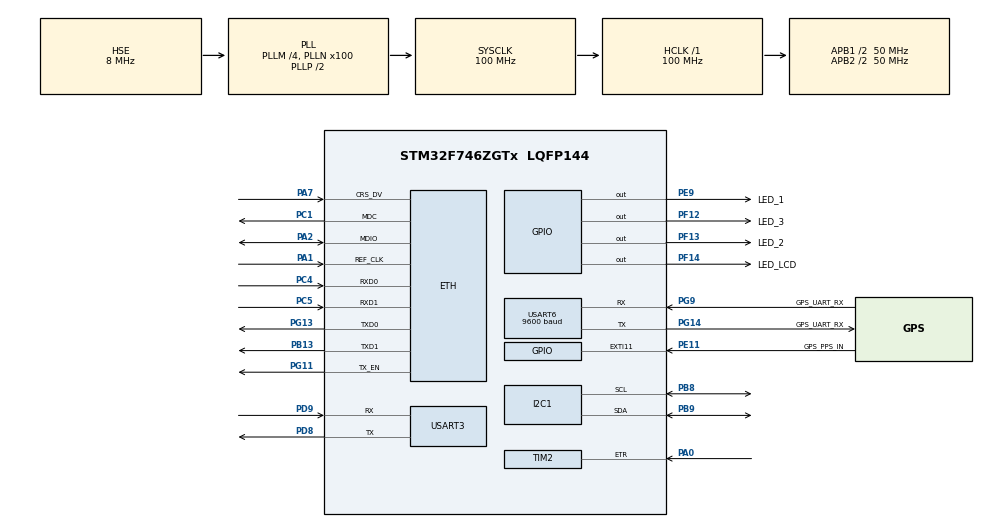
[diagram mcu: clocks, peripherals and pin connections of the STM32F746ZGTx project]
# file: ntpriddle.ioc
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CORTEX_M7.ART_ACCLERATOR_ENABLE=1
CORTEX_M7.CPU_DCache=Enabled
CORTEX_M7.CPU_ICache=Enabled
CORTEX_M7.PREFETCH_ENABLE=1
Dma.Request0=USART3_RX
Dma.Request1=USART3_TX
Dma.Request2=USART6_RX
Dma.Request3=USART6_TX
Dma.USART3_RX.0.Direction=DMA_PERIPH_TO_MEMORY
Dma.USART3_RX.0.FIFOMode=DMA_FIFOMODE_DISABLE
Dma.USART3_RX.0.Instance=DMA1_Stream1
Dma.USART3_RX.0.MemDataAlignment=DMA_MDATAALIGN_BYTE
Dma.USART3_RX.0.MemInc=DMA_MINC_ENABLE
Dma.USART3_RX.0.Mode=DMA_NORMAL
Dma.USART3_RX.0.PeriphDataAlignment=DMA_PDATAALIGN_BYTE
Dma.USART3_RX.0.PeriphInc=DMA_PINC_DISABLE
Dma.USART3_RX.0.Priority=DMA_PRIORITY_LOW
Dma.USART3_TX.1.Direction=DMA_MEMORY_TO_PERIPH
Dma.USART3_TX.1.FIFOMode=DMA_FIFOMODE_DISABLE
Dma.USART3_TX.1.Instance=DMA1_Stream3
Dma.USART3_TX.1.MemDataAlignment=DMA_MDATAALIGN_BYTE
Dma.USART3_TX.1.MemInc=DMA_MINC_ENABLE
Dma.USART3_TX.1.Mode=DMA_NORMAL
Dma.USART3_TX.1.PeriphDataAlignment=DMA_PDATAALIGN_BYTE
Dma.USART3_TX.1.PeriphInc=DMA_PINC_DISABLE
Dma.USART3_TX.1.Priority=DMA_PRIORITY_LOW
Dma.USART6_RX.2.Direction=DMA_PERIPH_TO_MEMORY
Dma.USART6_RX.2.FIFOMode=DMA_FIFOMODE_DISABLE
Dma.USART6_RX.2.Instance=DMA2_Stream1
Dma.USART6_RX.2.MemDataAlignment=DMA_MDATAALIGN_BYTE
Dma.USART6_RX.2.MemInc=DMA_MINC_ENABLE
Dma.USART6_RX.2.Mode=DMA_NORMAL
Dma.USART6_RX.2.PeriphDataAlignment=DMA_PDATAALIGN_BYTE
Dma.USART6_RX.2.PeriphInc=DMA_PINC_DISABLE
Dma.USART6_RX.2.Priority=DMA_PRIORITY_LOW
Dma.USART6_TX.3.Direction=DMA_MEMORY_TO_PERIPH
Dma.USART6_TX.3.FIFOMode=DMA_FIFOMODE_DISABLE
Dma.USART6_TX.3.Instance=DMA2_Stream6
Dma.USART6_TX.3.MemDataAlignment=DMA_MDATAALIGN_BYTE
Dma.USART6_TX.3.MemInc=DMA_MINC_ENABLE
Dma.USART6_TX.3.Mode=DMA_NORMAL
Dma.USART6_TX.3.PeriphDataAlignment=DMA_PDATAALIGN_BYTE
Dma.USART6_TX.3.PeriphInc=DMA_PINC_DISABLE
Dma.USART6_TX.3.Priority=DMA_PRIORITY_LOW
ETH.MediaInterface=ETH_MEDIA_INTERFACE_RMII
ETH.PhyAddress=0
FREERTOS.BinarySemaphores01=GPSDataSemaphore,Dynamic,NULL;LCDSyncSemaphore,Dynamic,NULL
FREERTOS.Tasks01=defaultTask,0,1024,StartDefaultTask,Default,NULL,Dynamic,NULL,NULL;udpRxTask,-3,512,StartTask02,Default,NULL,Dynamic,NULL,NULL;lcdClockTask,0,128,LCDClockTask,Default,NULL,Dynamic,NULL,NULL
FREERTOS.configUSE_PREEMPTION=0
FREERTOS.configUSE_TRACE_FACILITY=1
I2C1.Timing=0x00C0EAFF
IWDG.Prescaler=IWDG_PRESCALER_64
LWIP.IP_ADDRESS=192.168.137.100
LWIP.LWIP_DHCP=0
LWIP.LWIP_HTTPD=0
LWIP.LWIP_SNTP=1
LWIP.LWIP_TCP=0
LWIP.NETMASK_ADDRESS=255.255.255.000
LWIP.Version=v2.0.3_Cube
Mcu.Family=STM32F7
Mcu.Name=STM32F746ZGTx
Mcu.Package=LQFP144
NVIC.DMA1_Stream1_IRQn=true\:5\:0\:false\:false\:true\:true\:false\:true
NVIC.DMA1_Stream3_IRQn=true\:5\:0\:false\:false\:true\:true\:false\:true
NVIC.DMA2_Stream1_IRQn=true\:5\:0\:false\:false\:true\:true\:false\:true
NVIC.DMA2_Stream6_IRQn=true\:5\:0\:false\:false\:true\:true\:false\:true
NVIC.ETH_IRQn=true\:5\:0\:false\:false\:true\:true\:false\:true
NVIC.EXTI15_10_IRQn=true\:5\:0\:false\:false\:true\:true\:true\:true
NVIC.PriorityGroup=NVIC_PRIORITYGROUP_4
NVIC.TIM3_IRQn=true\:5\:0\:false\:false\:true\:true\:true\:true
NVIC.TIM8_TRG_COM_TIM14_IRQn=true\:0\:0\:false\:false\:true\:false\:false\:true
NVIC.TimeBase=TIM8_TRG_COM_TIM14_IRQn
NVIC.TimeBaseIP=TIM14
NVIC.USART3_IRQn=true\:12\:0\:true\:false\:true\:true\:true\:true
NVIC.USART6_IRQn=true\:5\:0\:false\:false\:true\:true\:true\:true
PA0/WKUP.Signal=S_TIM2_CH1_ETR
PA1.Mode=RMII
PA1.Signal=ETH_REF_CLK
PA13.Mode=Serial_Wire
PA13.Signal=SYS_JTMS-SWDIO
PA14.Mode=Serial_Wire
PA14.Signal=SYS_JTCK-SWCLK
PA2.Mode=RMII
PA2.Signal=ETH_MDIO
PA7.Mode=RMII
PA7.Signal=ETH_CRS_DV
PB13.Mode=RMII
PB13.Signal=ETH_TXD1
PB8.Mode=I2C
PB8.Signal=I2C1_SCL
PB9.Mode=I2C
PB9.Signal=I2C1_SDA
PC1.Mode=RMII
PC1.Signal=ETH_MDC
PC14/OSC32_IN.Mode=LSE-External-Oscillator
PC14/OSC32_IN.Signal=RCC_OSC32_IN
PC15/OSC32_OUT.Mode=LSE-External-Oscillator
PC15/OSC32_OUT.Signal=RCC_OSC32_OUT
PC4.Mode=RMII
PC4.Signal=ETH_RXD0
PC5.Mode=RMII
PC5.Signal=ETH_RXD1
PD8.Mode=Asynchronous
PD8.Signal=USART3_TX
PD9.Mode=Asynchronous
PD9.Signal=USART3_RX
PE11.GPIO_Label=GPS_PPS_IN
PE11.GPIO_ModeDefaultEXTI=GPIO_MODE_IT_FALLING
PE11.Signal=GPXTI11
PE9.GPIO_Label=LED_1
PE9.Signal=GPIO_Output
PF12.GPIO_Label=LED_3
PF12.Signal=GPIO_Output
PF13.GPIO_Label=LED_2
PF13.Signal=GPIO_Output
PF14.GPIO_Label=LED_LCD
PF14.Signal=GPIO_Output
PG11.Mode=RMII
PG11.Signal=ETH_TX_EN
PG13.Mode=RMII
PG13.Signal=ETH_TXD0
PG14.GPIO_Label=GPS_UART_RX
PG14.Mode=Asynchronous
PG14.Signal=USART6_TX
PG9.GPIO_Label=GPS_UART_RX
PG9.Mode=Asynchronous
PG9.Signal=USART6_RX
PH0/OSC_IN.Mode=HSE-External-Clock-Source
PH0/OSC_IN.Signal=RCC_OSC_IN
PH1/OSC_OUT.Mode=HSE-External-Clock-Source
PH1/OSC_OUT.Signal=RCC_OSC_OUT
ProjectManager.HeapSize=0x200
ProjectManager.StackSize=0x400
ProjectManager.TargetToolchain=Makefile
RCC.AHBFreq_Value=100000000
RCC.APB1CLKDivider=RCC_HCLK_DIV2
RCC.APB1Freq_Value=50000000
RCC.APB1TimFreq_Value=100000000
RCC.APB2CLKDivider=RCC_HCLK_DIV2
RCC.APB2Freq_Value=50000000
RCC.APB2TimFreq_Value=100000000
RCC.CortexFreq_Value=100000000
RCC.HCLKFreq_Value=100000000
RCC.HSE_VALUE=8000000
RCC.HSI_VALUE=16000000
RCC.PLLM=4
RCC.PLLN=100
RCC.PLLSourceVirtual=RCC_PLLSOURCE_HSE
RCC.RTCClockSelection=RCC_RTCCLKSOURCE_LSE
RCC.SYSCLKFreq_VALUE=100000000
RCC.SYSCLKSource=RCC_SYSCLKSOURCE_PLLCLK
RCC.USBFreq_Value=100000000
RCC.VCOOutputFreq_Value=200000000
SH.S_TIM2_CH1_ETR.0=TIM2_ETR,TriggerSource_ETR
TIM3.AutoReloadPreload=TIM_AUTORELOAD_PRELOAD_ENABLE
TIM3.Period=50000
TIM3.Prescaler=1999
USART3.VirtualMode-Asynchronous=VM_ASYNC
USART6.BaudRate=9600
USART6.VirtualMode-Asynchronous=VM_ASYNC
VP_FREERTOS_VS_CMSIS_V1.Mode=CMSIS_V1
VP_IWDG_VS_IWDG.Mode=IWDG_Activate
VP_LWIP_VS_Enabled.Mode=Enabled
VP_RTC_VS_RTC_Activate.Mode=RTC_Enabled
VP_RTC_VS_RTC_Calendar.Mode=RTC_Calendar
VP_SYS_VS_tim14.Mode=TIM14
VP_TIM2_VS_ControllerModeClock.Mode=Clock Mode
VP_TIM3_VS_ClockSourceINT.Mode=Internal
board=custom

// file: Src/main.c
/* USER CODE BEGIN Header */
/**
  ******************************************************************************
  * @file           : main.c
  * @brief          : Main program body
  ******************************************************************************
  ** This notice applies to any and all portions of this file
  * that are not between comment pairs USER CODE BEGIN and
  * USER CODE END. Other portions of this file, whether
  * inserted by the user or by software development tools
  * are owned by their respective copyright owners.
  *
  * COPYRIGHT(c) 2019 STMicroelectronics
  *
  * Redistribution and use in source and binary forms, with or without modification,
  * are permitted provided that the following conditions are met:
  *   1. Redistributions of source code must retain the above copyright notice,
  *      this list of conditions and the following disclaimer.
  *   2. Redistributions in binary form must reproduce the above copyright notice,
  *      this list of conditions and the following disclaimer in the documentation
  *      and/or other materials provided with the distribution.
  *   3. Neither the name of STMicroelectronics nor the names of its contributors
  *      may be used to endorse or promote products derived from this software
  *      without specific prior written permission.
  *
  * THIS SOFTWARE IS PROVIDED BY THE COPYRIGHT HOLDERS AND CONTRIBUTORS "AS IS"
  * AND ANY EXPRESS OR IMPLIED WARRANTIES, INCLUDING, BUT NOT LIMITED TO, THE
  * IMPLIED WARRANTIES OF MERCHANTABILITY AND FITNESS FOR A PARTICULAR PURPOSE ARE
  * DISCLAIMED. IN NO EVENT SHALL THE COPYRIGHT HOLDER OR CONTRIBUTORS BE LIABLE
  * FOR ANY DIRECT, INDIRECT, INCIDENTAL, SPECIAL, EXEMPLARY, OR CONSEQUENTIAL
  * DAMAGES (INCLUDING, BUT NOT LIMITED TO, PROCUREMENT OF SUBSTITUTE GOODS OR
  * SERVICES; LOSS OF USE, DATA, OR PROFITS; OR BUSINESS INTERRUPTION) HOWEVER
  * CAUSED AND ON ANY THEORY OF LIABILITY, WHETHER IN CONTRACT, STRICT LIABILITY,
  * OR TORT (INCLUDING NEGLIGENCE OR OTHERWISE) ARISING IN ANY WAY OUT OF THE USE
  * OF THIS SOFTWARE, EVEN IF ADVISED OF THE POSSIBILITY OF SUCH DAMAGE.
  *
  ******************************************************************************
  */
/* USER CODE END Header */

#include "main.h"
#include "cmsis_os.h"
#include "lwip.h"

/* USER CODE BEGIN Includes */
#define __STDC_FORMAT_MACROS
#include <inttypes.h>
#include <math.h>

#include "lwip/api.h"
#include "gps_thread.h"
#include "aqm1602.h"
#include "uart.h"
#include "ntp.h"
#include "timecount.h"
/* USER CODE END Includes */

I2C_HandleTypeDef hi2c1;

IWDG_HandleTypeDef hiwdg;

RTC_HandleTypeDef hrtc;

TIM_HandleTypeDef htim2;
TIM_HandleTypeDef htim3;

UART_HandleTypeDef huart3;
UART_HandleTypeDef huart6;
DMA_HandleTypeDef hdma_usart3_rx;
DMA_HandleTypeDef hdma_usart3_tx;
DMA_HandleTypeDef hdma_usart6_rx;
DMA_HandleTypeDef hdma_usart6_tx;

osThreadId defaultTaskHandle;
osThreadId udpRxTaskHandle;
osThreadId lcdClockTaskHandle;
osSemaphoreId GPSDataSemaphoreHandle;
osSemaphoreId LCDSyncSemaphoreHandle;
/* USER CODE BEGIN PV */
bool is_gps_fixed = false;
uint64_t gps_sync_time = 0;
uint8_t satellite_count = 0;
double latitude = 0;
double longitude = 0;
float speed = 0;
float move_direction = 0;
bool lcd_refresh_flag = false;
uint8_t clock_sync_mode = NO_SYNC;

uint64_t sec_count = 0;
time_t last_locked;
/* USER CODE END PV */

void SystemClock_Config(void);
static void MX_GPIO_Init(void);
static void MX_DMA_Init(void);
static void MX_USART3_UART_Init(void);
static void MX_TIM2_Init(void);
static void MX_IWDG_Init(void);
static void MX_RTC_Init(void);
static void MX_TIM3_Init(void);
static void MX_I2C1_Init(void);
static void MX_USART6_UART_Init(void);
void StartDefaultTask(void const *argument);
void StartTask02(void const *argument);
void LCDClockTask(void const *argument);

int main(void)
{

    /* Enable I-Cache---------------------------------------------------------*/
    SCB_EnableICache();

    /* Enable D-Cache---------------------------------------------------------*/
    SCB_EnableDCache();

    /* MCU Configuration--------------------------------------------------------*/

    /* Reset of all peripherals, Initializes the Flash interface and the Systick. */
    HAL_Init();

    /* Configure the system clock */
    SystemClock_Config();

    /* Initialize all configured peripherals */
    MX_GPIO_Init();
    MX_DMA_Init();
    MX_USART3_UART_Init();
    MX_TIM2_Init();
    MX_IWDG_Init();
    MX_RTC_Init();
    MX_TIM3_Init();
    MX_I2C1_Init();
    MX_USART6_UART_Init();

    /* Create the semaphores(s) */
    /* definition and creation of GPSDataSemaphore */
    osSemaphoreDef(GPSDataSemaphore);
    GPSDataSemaphoreHandle = osSemaphoreCreate(osSemaphore(GPSDataSemaphore), 1);

    /* definition and creation of LCDSyncSemaphore */
    osSemaphoreDef(LCDSyncSemaphore);
    LCDSyncSemaphoreHandle = osSemaphoreCreate(osSemaphore(LCDSyncSemaphore), 1);

    /* Create the thread(s) */
    /* definition and creation of defaultTask */
    osThreadDef(defaultTask, StartDefaultTask, osPriorityNormal, 0, 1024);
    defaultTaskHandle = osThreadCreate(osThread(defaultTask), NULL);

    /* definition and creation of udpRxTask */
    osThreadDef(udpRxTask, StartTask02, osPriorityIdle, 0, 512);
    udpRxTaskHandle = osThreadCreate(osThread(udpRxTask), NULL);

    /* definition and creation of lcdClockTask */
    osThreadDef(lcdClockTask, LCDClockTask, osPriorityNormal, 0, 256);
    lcdClockTaskHandle = osThreadCreate(osThread(lcdClockTask), NULL);

    /* Start scheduler */
    osKernelStart();

    /* We should never get here as control is now taken by the scheduler */

    /* Infinite loop */
    /* USER CODE BEGIN WHILE */
    while (1)
    {
        osDelay(1000);
        /* USER CODE END WHILE */

    }
}

void SystemClock_Config(void)
{
    RCC_OscInitTypeDef RCC_OscInitStruct = {0};
    RCC_ClkInitTypeDef RCC_ClkInitStruct = {0};
    RCC_PeriphCLKInitTypeDef PeriphClkInitStruct = {0};

    /** Configure LSE Drive Capability
  */
    HAL_PWR_EnableBkUpAccess();
    __HAL_RCC_LSEDRIVE_CONFIG(RCC_LSEDRIVE_LOW);
    /** Configure the main internal regulator output voltage
  */
    __HAL_RCC_PWR_CLK_ENABLE();
    __HAL_PWR_VOLTAGESCALING_CONFIG(PWR_REGULATOR_VOLTAGE_SCALE3);
    /** Initializes the CPU, AHB and APB busses clocks
  */
    RCC_OscInitStruct.OscillatorType = RCC_OSCILLATORTYPE_LSI | RCC_OSCILLATORTYPE_HSE | RCC_OSCILLATORTYPE_LSE;
    RCC_OscInitStruct.HSEState = RCC_HSE_BYPASS;
    RCC_OscInitStruct.LSEState = RCC_LSE_ON;
    RCC_OscInitStruct.LSIState = RCC_LSI_ON;
    RCC_OscInitStruct.PLL.PLLState = RCC_PLL_ON;
    RCC_OscInitStruct.PLL.PLLSource = RCC_PLLSOURCE_HSE;
    RCC_OscInitStruct.PLL.PLLM = 4;
    RCC_OscInitStruct.PLL.PLLN = 100;
    RCC_OscInitStruct.PLL.PLLP = RCC_PLLP_DIV2;
    RCC_OscInitStruct.PLL.PLLQ = 2;
    if (HAL_RCC_OscConfig(&RCC_OscInitStruct) != HAL_OK)
    {
        Error_Handler();
    }
    /** Activate the Over-Drive mode
  */
    if (HAL_PWREx_EnableOverDrive() != HAL_OK)
    {
        Error_Handler();
    }
    /** Initializes the CPU, AHB and APB busses clocks
  */
    RCC_ClkInitStruct.ClockType = RCC_CLOCKTYPE_HCLK | RCC_CLOCKTYPE_SYSCLK | RCC_CLOCKTYPE_PCLK1 | RCC_CLOCKTYPE_PCLK2;
    RCC_ClkInitStruct.SYSCLKSource = RCC_SYSCLKSOURCE_PLLCLK;
    RCC_ClkInitStruct.AHBCLKDivider = RCC_SYSCLK_DIV1;
    RCC_ClkInitStruct.APB1CLKDivider = RCC_HCLK_DIV2;
    RCC_ClkInitStruct.APB2CLKDivider = RCC_HCLK_DIV2;

    if (HAL_RCC_ClockConfig(&RCC_ClkInitStruct, FLASH_LATENCY_3) != HAL_OK)
    {
        Error_Handler();
    }
    PeriphClkInitStruct.PeriphClockSelection = RCC_PERIPHCLK_RTC | RCC_PERIPHCLK_USART3 | RCC_PERIPHCLK_USART6 | RCC_PERIPHCLK_I2C1;
    PeriphClkInitStruct.RTCClockSelection = RCC_RTCCLKSOURCE_LSE;
    PeriphClkInitStruct.Usart3ClockSelection = RCC_USART3CLKSOURCE_PCLK1;
    PeriphClkInitStruct.Usart6ClockSelection = RCC_USART6CLKSOURCE_PCLK2;
    PeriphClkInitStruct.I2c1ClockSelection = RCC_I2C1CLKSOURCE_PCLK1;
    if (HAL_RCCEx_PeriphCLKConfig(&PeriphClkInitStruct) != HAL_OK)
    {
        Error_Handler();
    }
}

static void MX_I2C1_Init(void)
{

    hi2c1.Instance = I2C1;
    hi2c1.Init.Timing = 0x00C0EAFF;
    hi2c1.Init.OwnAddress1 = 0;
    hi2c1.Init.AddressingMode = I2C_ADDRESSINGMODE_7BIT;
    hi2c1.Init.DualAddressMode = I2C_DUALADDRESS_DISABLE;
    hi2c1.Init.OwnAddress2 = 0;
    hi2c1.Init.OwnAddress2Masks = I2C_OA2_NOMASK;
    hi2c1.Init.GeneralCallMode = I2C_GENERALCALL_DISABLE;
    hi2c1.Init.NoStretchMode = I2C_NOSTRETCH_DISABLE;
    if (HAL_I2C_Init(&hi2c1) != HAL_OK)
    {
        Error_Handler();
    }
    /** Configure Analogue filter
  */
    if (HAL_I2CEx_ConfigAnalogFilter(&hi2c1, I2C_ANALOGFILTER_ENABLE) != HAL_OK)
    {
        Error_Handler();
    }
    /** Configure Digital filter
  */
    if (HAL_I2CEx_ConfigDigitalFilter(&hi2c1, 0) != HAL_OK)
    {
        Error_Handler();
    }
}

static void MX_IWDG_Init(void)
{

    hiwdg.Instance = IWDG;
    hiwdg.Init.Prescaler = IWDG_PRESCALER_64;
    hiwdg.Init.Window = 4095;
    hiwdg.Init.Reload = 4095;
    if (HAL_IWDG_Init(&hiwdg) != HAL_OK)
    {
        Error_Handler();
    }
}

static void MX_RTC_Init(void)
{

    RTC_TimeTypeDef sTime = {0};
    RTC_DateTypeDef sDate = {0};

    /** Initialize RTC Only
  */
    hrtc.Instance = RTC;
    hrtc.Init.HourFormat = RTC_HOURFORMAT_24;
    hrtc.Init.AsynchPrediv = 127;
    hrtc.Init.SynchPrediv = 255;
    hrtc.Init.OutPut = RTC_OUTPUT_DISABLE;
    hrtc.Init.OutPutPolarity = RTC_OUTPUT_POLARITY_HIGH;
    hrtc.Init.OutPutType = RTC_OUTPUT_TYPE_OPENDRAIN;
    if (HAL_RTC_Init(&hrtc) != HAL_OK)
    {
        Error_Handler();
    }

    /** Initialize RTC and set the Time and Date
  */
    sTime.Hours = 0x0;
    sTime.Minutes = 0x0;
    sTime.Seconds = 0x0;
    sTime.DayLightSaving = RTC_DAYLIGHTSAVING_NONE;
    sTime.StoreOperation = RTC_STOREOPERATION_RESET;
    if (HAL_RTC_SetTime(&hrtc, &sTime, RTC_FORMAT_BCD) != HAL_OK)
    {
        Error_Handler();
    }
    sDate.WeekDay = RTC_WEEKDAY_MONDAY;
    sDate.Month = RTC_MONTH_JANUARY;
    sDate.Date = 0x1;
    sDate.Year = 0x0;
    if (HAL_RTC_SetDate(&hrtc, &sDate, RTC_FORMAT_BCD) != HAL_OK)
    {
        Error_Handler();
    }
}

static void MX_TIM2_Init(void)
{

    TIM_SlaveConfigTypeDef sSlaveConfig = {0};
    TIM_MasterConfigTypeDef sMasterConfig = {0};

    htim2.Instance = TIM2;
    htim2.Init.Prescaler = 0;
    htim2.Init.CounterMode = TIM_COUNTERMODE_UP;
    htim2.Init.Period = 0;
    htim2.Init.ClockDivision = TIM_CLOCKDIVISION_DIV1;
    htim2.Init.AutoReloadPreload = TIM_AUTORELOAD_PRELOAD_DISABLE;
    if (HAL_TIM_Base_Init(&htim2) != HAL_OK)
    {
        Error_Handler();
    }
    sSlaveConfig.SlaveMode = TIM_SLAVEMODE_EXTERNAL1;
    sSlaveConfig.InputTrigger = TIM_TS_ETRF;
    sSlaveConfig.TriggerPolarity = TIM_TRIGGERPOLARITY_NONINVERTED;
    sSlaveConfig.TriggerPrescaler = TIM_TRIGGERPRESCALER_DIV1;
    sSlaveConfig.TriggerFilter = 0;
    if (HAL_TIM_SlaveConfigSynchro(&htim2, &sSlaveConfig) != HAL_OK)
    {
        Error_Handler();
    }
    sMasterConfig.MasterOutputTrigger = TIM_TRGO_RESET;
    sMasterConfig.MasterSlaveMode = TIM_MASTERSLAVEMODE_DISABLE;
    if (HAL_TIMEx_MasterConfigSynchronization(&htim2, &sMasterConfig) != HAL_OK)
    {
        Error_Handler();
    }
}

static void MX_TIM3_Init(void)
{

    TIM_ClockConfigTypeDef sClockSourceConfig = {0};
    TIM_MasterConfigTypeDef sMasterConfig = {0};

    htim3.Instance = TIM3;
    htim3.Init.Prescaler = 1999;
    htim3.Init.CounterMode = TIM_COUNTERMODE_UP;
    htim3.Init.Period = 50000;
    htim3.Init.ClockDivision = TIM_CLOCKDIVISION_DIV1;
    htim3.Init.AutoReloadPreload = TIM_AUTORELOAD_PRELOAD_ENABLE;
    if (HAL_TIM_Base_Init(&htim3) != HAL_OK)
    {
        Error_Handler();
    }
    sClockSourceConfig.ClockSource = TIM_CLOCKSOURCE_INTERNAL;
    if (HAL_TIM_ConfigClockSource(&htim3, &sClockSourceConfig) != HAL_OK)
    {
        Error_Handler();
    }
    sMasterConfig.MasterOutputTrigger = TIM_TRGO_RESET;
    sMasterConfig.MasterSlaveMode = TIM_MASTERSLAVEMODE_DISABLE;
    if (HAL_TIMEx_MasterConfigSynchronization(&htim3, &sMasterConfig) != HAL_OK)
    {
        Error_Handler();
    }
}

static void MX_USART3_UART_Init(void)
{

    huart3.Instance = USART3;
    huart3.Init.BaudRate = 115200;
    huart3.Init.WordLength = UART_WORDLENGTH_8B;
    huart3.Init.StopBits = UART_STOPBITS_1;
    huart3.Init.Parity = UART_PARITY_NONE;
    huart3.Init.Mode = UART_MODE_TX_RX;
    huart3.Init.HwFlowCtl = UART_HWCONTROL_NONE;
    huart3.Init.OverSampling = UART_OVERSAMPLING_16;
    huart3.Init.OneBitSampling = UART_ONE_BIT_SAMPLE_DISABLE;
    huart3.AdvancedInit.AdvFeatureInit = UART_ADVFEATURE_NO_INIT;
    if (HAL_UART_Init(&huart3) != HAL_OK)
    {
        Error_Handler();
    }
}

static void MX_USART6_UART_Init(void)
{

    huart6.Instance = USART6;
    huart6.Init.BaudRate = 9600;
    huart6.Init.WordLength = UART_WORDLENGTH_8B;
    huart6.Init.StopBits = UART_STOPBITS_1;
    huart6.Init.Parity = UART_PARITY_NONE;
    huart6.Init.Mode = UART_MODE_TX_RX;
    huart6.Init.HwFlowCtl = UART_HWCONTROL_NONE;
    huart6.Init.OverSampling = UART_OVERSAMPLING_16;
    huart6.Init.OneBitSampling = UART_ONE_BIT_SAMPLE_DISABLE;
    huart6.AdvancedInit.AdvFeatureInit = UART_ADVFEATURE_NO_INIT;
    if (HAL_UART_Init(&huart6) != HAL_OK)
    {
        Error_Handler();
    }
}

static void MX_DMA_Init(void)
{
    /* DMA controller clock enable */
    __HAL_RCC_DMA1_CLK_ENABLE();
    __HAL_RCC_DMA2_CLK_ENABLE();

    /* DMA interrupt init */
    /* DMA1_Stream1_IRQn interrupt configuration */
    HAL_NVIC_SetPriority(DMA1_Stream1_IRQn, 5, 0);
    HAL_NVIC_EnableIRQ(DMA1_Stream1_IRQn);
    /* DMA1_Stream3_IRQn interrupt configuration */
    HAL_NVIC_SetPriority(DMA1_Stream3_IRQn, 5, 0);
    HAL_NVIC_EnableIRQ(DMA1_Stream3_IRQn);
    /* DMA2_Stream1_IRQn interrupt configuration */
    HAL_NVIC_SetPriority(DMA2_Stream1_IRQn, 5, 0);
    HAL_NVIC_EnableIRQ(DMA2_Stream1_IRQn);
    /* DMA2_Stream6_IRQn interrupt configuration */
    HAL_NVIC_SetPriority(DMA2_Stream6_IRQn, 5, 0);
    HAL_NVIC_EnableIRQ(DMA2_Stream6_IRQn);
}

static void MX_GPIO_Init(void)
{
    GPIO_InitTypeDef GPIO_InitStruct = {0};

    /* GPIO Ports Clock Enable */
    __HAL_RCC_GPIOC_CLK_ENABLE();
    __HAL_RCC_GPIOH_CLK_ENABLE();
    __HAL_RCC_GPIOA_CLK_ENABLE();
    __HAL_RCC_GPIOF_CLK_ENABLE();
    __HAL_RCC_GPIOE_CLK_ENABLE();
    __HAL_RCC_GPIOB_CLK_ENABLE();
    __HAL_RCC_GPIOD_CLK_ENABLE();
    __HAL_RCC_GPIOG_CLK_ENABLE();

    /*Configure GPIO pin Output Level */
    HAL_GPIO_WritePin(GPIOF, LED_3_Pin | LED_2_Pin | LED_LCD_Pin, GPIO_PIN_RESET);

    /*Configure GPIO pin Output Level */
    HAL_GPIO_WritePin(LED_1_GPIO_Port, LED_1_Pin, GPIO_PIN_RESET);

    /*Configure GPIO pins : LED_3_Pin LED_2_Pin LED_LCD_Pin */
    GPIO_InitStruct.Pin = LED_3_Pin | LED_2_Pin | LED_LCD_Pin;
    GPIO_InitStruct.Mode = GPIO_MODE_OUTPUT_PP;
    GPIO_InitStruct.Pull = GPIO_NOPULL;
    GPIO_InitStruct.Speed = GPIO_SPEED_FREQ_LOW;
    HAL_GPIO_Init(GPIOF, &GPIO_InitStruct);

    /*Configure GPIO pin : LED_1_Pin */
    GPIO_InitStruct.Pin = LED_1_Pin;
    GPIO_InitStruct.Mode = GPIO_MODE_OUTPUT_PP;
    GPIO_InitStruct.Pull = GPIO_NOPULL;
    GPIO_InitStruct.Speed = GPIO_SPEED_FREQ_LOW;
    HAL_GPIO_Init(LED_1_GPIO_Port, &GPIO_InitStruct);

    /*Configure GPIO pin : GPS_PPS_IN_Pin */
    GPIO_InitStruct.Pin = GPS_PPS_IN_Pin;
    GPIO_InitStruct.Mode = GPIO_MODE_IT_FALLING;
    GPIO_InitStruct.Pull = GPIO_NOPULL;
    HAL_GPIO_Init(GPS_PPS_IN_GPIO_Port, &GPIO_InitStruct);

    /* EXTI interrupt init*/
    HAL_NVIC_SetPriority(EXTI15_10_IRQn, 5, 0);
    HAL_NVIC_EnableIRQ(EXTI15_10_IRQn);
}

void StartDefaultTask(void const *argument)
{
    /* init code for LWIP */
    MX_LWIP_Init();

    /* USER CODE BEGIN 5 */
    HAL_UART_Transmit(&huart3, (uint8_t *)"task start\n", 11, 1000);
    lcd_led_set(1);
    ntp_start_listen();

    for (;;)
    {
        HAL_IWDG_Refresh(&hiwdg);
        osDelay(1000);
    }

    /* USER CODE END 5 */
}

void StartTask02(void const *argument)
{
    /* USER CODE BEGIN StartTask02 */
    gps_loop();
    /* USER CODE END StartTask02 */
}

void LCDClockTask(void const *argument)
{
    /* USER CODE BEGIN LCDClockTask */
    /* Infinite loop */
    int lcd_refresh_cnt = 0;
    uint8_t last_sync_mode = 255;

    char lcd_buf[64];
    struct tm utc_tm;
    lcd_init();
    lcd_clear();
    lcd_println("GNSS WAITING");
    lcd_move_cursor(0x40);
    lcd_println("YYMMDD HH:MM:SS");
    // gmtime_r(&last_locked, &utc_tm);
    // utc_tm = get_tm();
    // strftime(lcd_buf, 16, "%y%m%d %H:%M:%S", &utc_tm);
    osSemaphoreRelease(LCDSyncSemaphoreHandle);
    printf("ok\n");

    for (;;)
    {
        osDelay(10);

        if (!lcd_refresh_flag)
        {
            continue;
        }
        if (osSemaphoreWait(LCDSyncSemaphoreHandle, 10) == osOK)
        {
            lcd_refresh_flag = false;
            osSemaphoreRelease(LCDSyncSemaphoreHandle);
        }

        lcd_clear();
        if (last_sync_mode != clock_sync_mode)
        {
            lcd_refresh_cnt = 0;
            last_sync_mode = clock_sync_mode;
        }
        if (clock_sync_mode == NO_SYNC)
        {
            sprintf(lcd_buf, "INTERNAL %d", lcd_refresh_cnt);
        } else {
            sprintf(lcd_buf, "GNSS %d", lcd_refresh_cnt);
        }
        lcd_println(lcd_buf);
        lcd_move_cursor(0x40);
        // gmtime_r(&last_locked, &utc_tm);
        utc_tm = get_tm();
        strftime(lcd_buf, 16, "%y%m%d %H:%M:%S", &utc_tm);
        lcd_println(lcd_buf);
        lcd_refresh_cnt++;
    }
    /* USER CODE END LCDClockTask */
}

void HAL_TIM_PeriodElapsedCallback(TIM_HandleTypeDef *htim)
{
    if (htim->Instance == TIM14)
    {
        HAL_IncTick();
    }
}

void Error_Handler(void)
{
}

/************************ (C) COPYRIGHT STMicroelectronics *****END OF FILE****/
